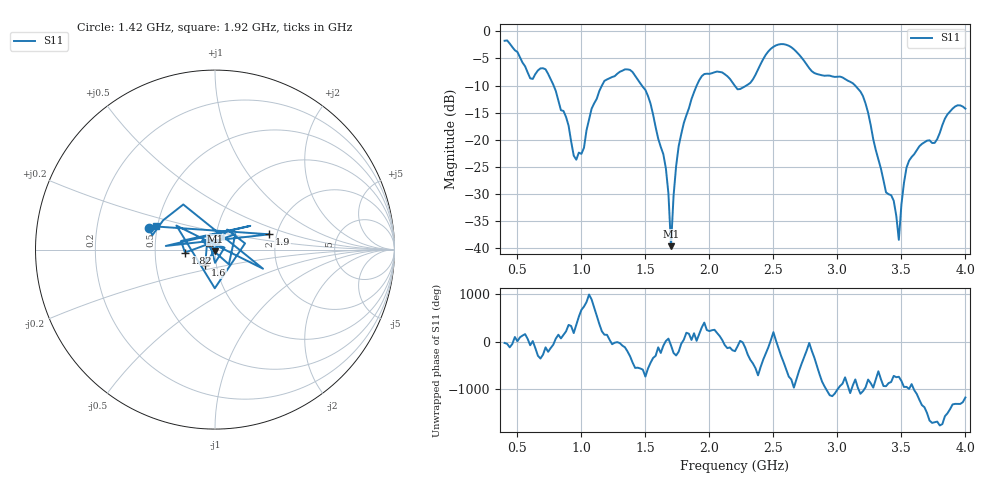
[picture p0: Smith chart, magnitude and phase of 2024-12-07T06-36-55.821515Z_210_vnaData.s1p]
!Created with skrf (http://scikit-rf.org).
# Hz S RI R 50.0
!freq ReS11 ImS11
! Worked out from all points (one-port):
!   181 points, 400 MHz to 4 GHz, reference 50 ohm
!   lowest |S11| = -39.6 dB at 1.7 GHz (marker M1), VSWR 1.02, Z = 50.2 - j1.03 ohm
!   |S11| at or under -10 dB: 783 MHz to 1.16 GHz (377.2 MHz wide, 38.8 % of centre); 1.473 GHz to 1.901 GHz (428.2 MHz wide, 25.4 % of centre); 3.139 GHz to end of sweep (the widest 3 of 4)
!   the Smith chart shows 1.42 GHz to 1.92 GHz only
!   S11 on the Smith chart (normalised r, x): 1.42 GHz: 0.45, +0.13; 1.6 GHz: 0.88, -0.15; 1.82 GHz: 0.71, -0.02; 1.9 GHz: 1.83, +0.35; 1.92 GHz: 0.49, +0.14
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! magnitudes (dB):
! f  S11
! 400 MHz  -1.7
! 600 MHz  -8.7
! 720 MHz  -7.0
! 860 MHz  -14.7
! 960 MHz  -23.7
! 1.16 GHz  -10.0
! 1.3 GHz  -7.5
! 1.42 GHz  -8.2
! 1.52 GHz  -11.9
! 1.6 GHz  -19.8
! 1.66 GHz  -25.3
! 1.7 GHz  -39.6
! 1.72 GHz  -30.4
! 1.76 GHz  -21.2
! 1.82 GHz  -15.5
! 1.9 GHz  -10.0
! 1.92 GHz  -9.0
! 2.2 GHz  -10.1
! 2.5 GHz  -2.9
! 2.66 GHz  -3.3
! 3.1 GHz  -9.3
! 3.22 GHz  -13.3
! 3.38 GHz  -29.7
! 3.44 GHz  -31.3
! 3.48 GHz  -38.5
! 3.52 GHz  -28.0
! 3.56 GHz  -23.9
! 4 GHz  -14.3
